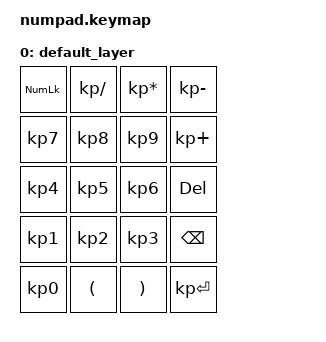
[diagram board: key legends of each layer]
#include <behaviors.dtsi>
#include <dt-bindings/zmk/keys.h>

/ {
    keymap {
        compatible = "zmk,keymap";

        default_layer {
            bindings = <
                &kp KP_NUM  &kp KP_DIVIDE  &kp KP_MULTIPLY  &kp KP_MINUS
                &kp KP_N7   &kp KP_N8      &kp KP_N9        &kp KP_PLUS
                &kp KP_N4   &kp KP_N5      &kp KP_N6        &kp DELETE
                &kp KP_N1   &kp KP_N2      &kp KP_N3        &kp BACKSPACE
                &kp KP_N0   &kp LEFT_PARENTHESIS &kp RIGHT_PARENTHESIS &kp KP_ENTER
            >;
        };
    };
};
